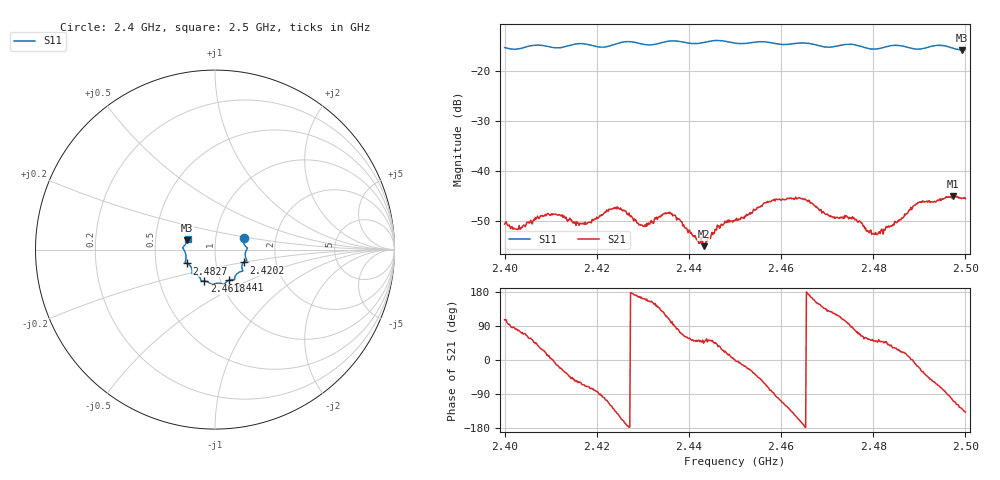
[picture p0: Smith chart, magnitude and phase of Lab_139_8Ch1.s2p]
# Hz S RI R 50
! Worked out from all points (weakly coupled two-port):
!   601 points, 2.4 GHz to 2.5 GHz, reference 50 ohm
!   highest |S21| = -45.01 dB at 2.4973 GHz (marker M1); lowest = -55.0 dB at 2.4432 GHz (marker M2)
!   lowest |S11| = -15.8 dB at 2.4993 GHz (marker M3), VSWR 1.39, Z = 36.5 + j3.81 ohm
!   |S11| at or under -10 dB: start of sweep to end of sweep
!   S12 and S22 are empty: the file has one direction only
!   S11 on the Smith chart (normalised r, x): 2.4 GHz: 1.36, +0.18; 2.4202 GHz: 1.36, -0.20; 2.441 GHz: 1.10, -0.39; 2.4618 GHz: 0.84, -0.30; 2.4827 GHz: 0.72, -0.11; 2.5 GHz: 0.73, +0.09
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2.4e9  0.1589 0.0628  -0.000827 0.00282  0 0  0 0
2.403e9  0.1635 0.0286  0.000504 0.00258  0 0  0 0
2.410667e9  0.1703 -0.0132  0.00367 -0.000258  0 0  0 0
2.416667e9  0.1772 -0.0609  0.00138 -0.00261  0 0  0 0
2.420167e9  0.1589 -0.0715  0.00039 -0.00332  0 0  0 0
2.424167e9  0.1516 -0.1081  -0.00315 -0.00298  0 0  0 0
2.429667e9  0.1399 -0.1231  -0.00279 0.000716  0 0  0 0
2.433333e9  0.1115 -0.1507  -0.00265 0.0022  0 0  0 0
2.4365e9  0.1087 -0.1677  -0.000206 0.00354  0 0  0 0
2.441e9  0.0789 -0.1698  0.00144 0.00172  0 0  0 0
2.443167e9  0.0599 -0.183  0.00126 0.00124  0 0  0 0
2.45e9  0.0287 -0.1874  0.00324 7.57e-06  0 0  0 0
2.461833e9  -0.0589 -0.1754  -0.00344 -0.00401  0 0  0 0
2.466667e9  -0.0788 -0.1685  -0.00459 0.00129  0 0  0 0
2.476e9  -0.1276 -0.1305  0.000642 0.00317  0 0  0 0
2.480167e9  -0.1359 -0.0935  0.00149 0.00179  0 0  0 0
2.482667e9  -0.1559 -0.077  0.00185 0.00192  0 0  0 0
2.483333e9  -0.1602 -0.075  0.00212 0.00186  0 0  0 0
2.489833e9  -0.163 -0.0262  0.00456 -0.00153  0 0  0 0
2.497333e9  -0.1662 0.0266  -0.00171 -0.00535  0 0  0 0
2.499333e9  -0.1542 0.0508  -0.00342 -0.0041  0 0  0 0
2.5e9  -0.1523 0.0603  -0.00387 -0.0036  0 0  0 0
